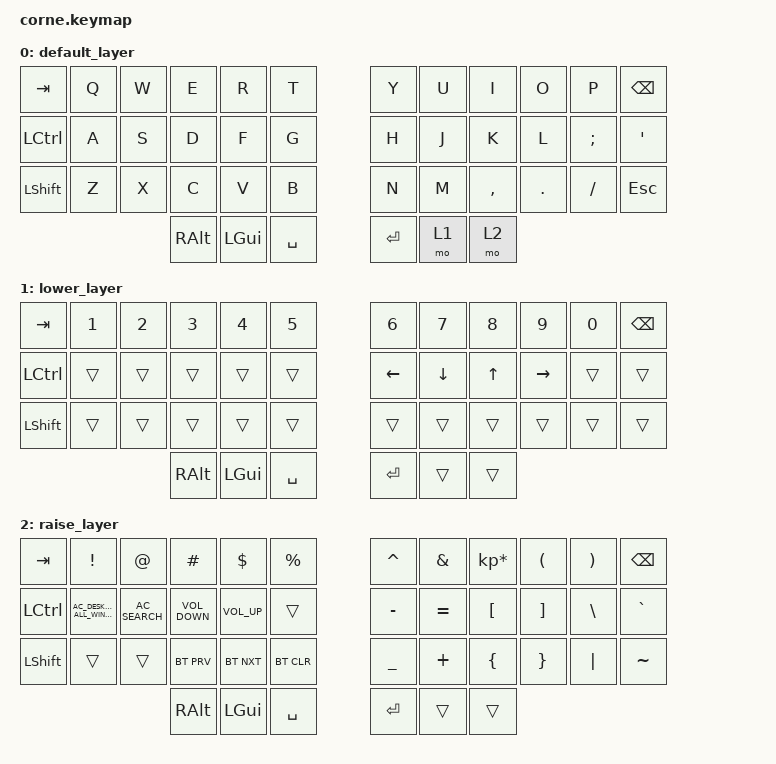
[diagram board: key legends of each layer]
/*
 * Copyright (c) 2020 The ZMK Contributors
 *
 * SPDX-License-Identifier: MIT
 */

#include <behaviors.dtsi>
#include <dt-bindings/zmk/keys.h>
#include <dt-bindings/zmk/bt.h>

/ {
        keymap {
                compatible = "zmk,keymap";

                default_layer {
// -----------------------------------------------------------------------------------------
// |  TAB |  Q  |  W  |  E  |  R  |  T  |   |  Y  |  U   |  I  |  O  |  P  | BKSP |
// | CTRL |  A  |  S  |  D  |  F  |  G  |   |  H  |  J   |  K  |  L  |  ;  |  '   |
// | SHFT |  Z  |  X  |  C  |  V  |  B  |   |  N  |  M   |  ,  |  .  |  /  | ESC  |
//                    | GUI | LWR | SPC |   | ENT | RSE  | ALT |
                        bindings = <
   &kp TAB   &kp Q &kp W &kp E &kp R &kp T   &kp Y &kp U  &kp I     &kp O   &kp P    &kp BSPC
   &kp LCTRL &kp A &kp S &kp D &kp F &kp G   &kp H &kp J  &kp K     &kp L   &kp SEMI &kp SQT
   &kp LSHFT &kp Z &kp X &kp C &kp V &kp B   &kp N &kp M  &kp COMMA &kp DOT &kp FSLH &kp ESC
               &kp RALT &kp LGUI &kp SPACE   &kp RET &mo 1 &mo 2
                        >;
                };
                lower_layer {
// -----------------------------------------------------------------------------------------
// |  TAB |  1  |  2  |  3  |  4  |  5  |   |  6  |  7  |  8  |  9  |  0  | BKSP |
// | BTCLR| BT1 | BT2 | BT3 | BT4 | BT5 |   | LFT | DWN |  UP | RGT |     |      |
// | SHFT |     |     |     |     |     |   |     |     |     |     |     |      |
//                    | GUI |     | SPC |   | ENT |     | ALT |
                        bindings = <
   &kp TAB    &kp N1       &kp N2       &kp N3       &kp N4       &kp N5         &kp N6   &kp N7   &kp N8 &kp N9    &kp N0 &kp BSPC
   &kp LCTRL  &trans       &trans       &trans       &trans       &trans         &kp LEFT &kp DOWN &kp UP &kp RIGHT &trans &trans
   &kp LSHFT  &trans       &trans       &trans       &trans       &trans         &trans   &trans   &trans &trans    &trans &trans
                                    &kp RALT  &kp LGUI  &kp SPACE      &kp RET  &trans  &trans
                        >;
                };

                raise_layer {
// -----------------------------------------------------------------------------------------
// |  TAB |  !  |  @  |  #  |  $  |  %  |   |  ^  |  &  |  *  |  (  |  )  | BKSP |
// | CTRL |     |     |     |     |     |   |  -  |  =  |  [  |  ]  |  \  |  `   |
// | SHFT |     |     |     |     |     |   |  _  |  +  |  {  |  }  | "|" |  ~   |
//                    | GUI |     | SPC |   | ENT |     | ALT |
                        bindings = <
   &kp  TAB  &kp EXCL &kp AT &kp HASH       &kp DLLR    &kp PRCNT       &kp CARET &kp AMPS  &kp KP_MULTIPLY &kp LPAR &kp RPAR &kp BSPC
   &kp LCTRL &kp C_AC_DESKTOP_SHOW_ALL_WINDOWS   &kp C_AC_SEARCH &kp C_VOLUME_DOWN        &kp C_VOLUME_UP     &trans          &kp MINUS &kp EQUAL &kp LBKT        &kp RBKT &kp BSLH &kp GRAVE
   &kp LSHFT &trans   &trans &bt BT_PRV     &bt BT_NXT  &bt BT_CLR      &kp UNDER &kp PLUS  &kp LBRC        &kp RBRC &kp PIPE &kp TILDE
                             &kp RALT  &kp LGUI  &kp SPACE      &kp RET  &trans  &trans
                        >;
                };
        };
};
